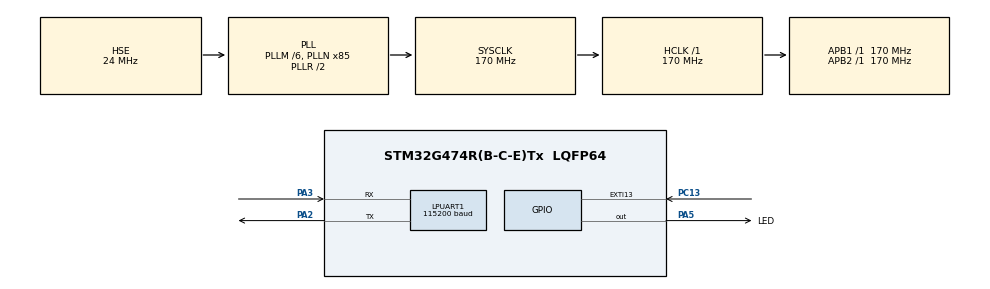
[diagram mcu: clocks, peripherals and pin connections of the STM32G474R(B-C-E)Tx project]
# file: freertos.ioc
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FREERTOS.INCLUDE_vTaskDelayUntil=1
FREERTOS.Tasks01=defaultTask,0,128,StartDefaultTask,Default,NULL,Dynamic,NULL,NULL
FREERTOS.configENABLE_FPU=1
FREERTOS.configMAX_PRIORITIES=32
FREERTOS.configTOTAL_HEAP_SIZE=32768
FREERTOS.configUSE_NEWLIB_REENTRANT=1
FREERTOS.configUSE_TIMERS=1
LPUART1.BaudRate=115200
Mcu.Family=STM32G4
Mcu.Name=STM32G474R(B-C-E)Tx
Mcu.Package=LQFP64
NVIC.EXTI15_10_IRQn=true\:5\:0\:false\:false\:true\:true\:true\:true\:true
NVIC.LPUART1_IRQn=true\:5\:0\:false\:false\:true\:true\:true\:true\:true
NVIC.PriorityGroup=NVIC_PRIORITYGROUP_4
NVIC.TIM7_DAC_IRQn=true\:15\:0\:false\:false\:true\:false\:false\:true\:true
NVIC.TimeBase=TIM7_DAC_IRQn
NVIC.TimeBaseIP=TIM7
PA13.Mode=Serial_Wire
PA13.Signal=SYS_JTMS-SWDIO
PA14.Mode=Serial_Wire
PA14.Signal=SYS_JTCK-SWCLK
PA2.Mode=Asynchronous
PA2.Signal=LPUART1_TX
PA3.Mode=Asynchronous
PA3.Signal=LPUART1_RX
PA5.GPIO_Label=LED
PA5.Signal=GPIO_Output
PC13.Signal=GPXTI13
PF0-OSC_IN.Mode=HSE-External-Oscillator
PF0-OSC_IN.Signal=RCC_OSC_IN
PF1-OSC_OUT.Mode=HSE-External-Oscillator
PF1-OSC_OUT.Signal=RCC_OSC_OUT
ProjectManager.HeapSize=0x200
ProjectManager.StackSize=0x400
ProjectManager.TargetToolchain=CMake
RCC.ADC12Freq_Value=170000000
RCC.ADC345Freq_Value=170000000
RCC.AHBFreq_Value=170000000
RCC.APB1Freq_Value=170000000
RCC.APB1TimFreq_Value=170000000
RCC.APB2Freq_Value=170000000
RCC.APB2TimFreq_Value=170000000
RCC.CortexFreq_Value=170000000
RCC.EXTERNAL_CLOCK_VALUE=12288000
RCC.HCLKFreq_Value=170000000
RCC.HSE_VALUE=24000000
RCC.HSI48_VALUE=48000000
RCC.HSI_VALUE=16000000
RCC.LSE_VALUE=32768
RCC.PLLM=RCC_PLLM_DIV6
RCC.PLLN=85
RCC.PLLSourceVirtual=RCC_PLLSOURCE_HSE
RCC.SYSCLKFreq_VALUE=170000000
RCC.SYSCLKSource=RCC_SYSCLKSOURCE_PLLCLK
RCC.USBFreq_Value=170000000
RCC.VCOOutputFreq_Value=340000000
VP_FREERTOS_VS_CMSIS_V1.Mode=CMSIS_V1
VP_SYS_VS_DBSignals.Mode=DisableDeadBatterySignals
VP_SYS_VS_tim7.Mode=TIM7
board=custom

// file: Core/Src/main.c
/* USER CODE BEGIN Header */
/**
 ******************************************************************************
 * @file           : main.c
 * @brief          : Main program body
 ******************************************************************************
 * @attention
 *
 * Copyright (c) 2025 STMicroelectronics.
 * All rights reserved.
 *
 * This software is licensed under terms that can be found in the LICENSE file
 * in the root directory of this software component.
 * If no LICENSE file comes with this software, it is provided AS-IS.
 *
 ******************************************************************************
 */
/* USER CODE END Header */
#include "main.h"
#include "cmsis_os.h"
#include "portmacro.h"
/* USER CODE BEGIN Includes */
#include "FreeRTOS_CLI.h"
#include <stdint.h>
#include <string.h>

/* USER CODE END Includes */

/* USER CODE BEGIN PD */

typedef struct led_params_t_ {
  GPIO_TypeDef *led_port;
  uint16_t led_pin;
  TickType_t led_toggle_time;
} led_params_t;
/* USER CODE END PD */

UART_HandleTypeDef hlpuart1;

osThreadId defaultTaskHandle;
/* USER CODE BEGIN PV */
SemaphoreHandle_t sem = NULL;
SemaphoreHandle_t mutex = NULL;
TimerHandle_t debounce;
QueueHandle_t queue_keyb;
QueueHandle_t queue_tx;
QueueHandle_t queue_rx;

volatile uint32_t counter = 0;

#define MAX_INPUT_LENGTH 50
#define MAX_OUTPUT_LENGTH 100

static const int8_t *const pcWelcomeMessage =
    "FreeRTOS command server.rnType Help to view a list of registered "
    "commands.rn\n";

void HAL_UART_TxCpltCallback(UART_HandleTypeDef *huart) {
  BaseType_t pxHigherPriorityTaskWoken = pdFALSE;
  xSemaphoreGiveFromISR(sem, &pxHigherPriorityTaskWoken);
  portYIELD_FROM_ISR(pxHigherPriorityTaskWoken);
}

void HAL_UART_RxCpltCallback(UART_HandleTypeDef *huart) {
  BaseType_t pxHigherPriorityTaskWoken = pdFALSE;
  xQueueSendToBackFromISR(queue_rx, huart->pRxBuffPtr,
                          &pxHigherPriorityTaskWoken);
  portYIELD_FROM_ISR(pxHigherPriorityTaskWoken);
}

void transmite_uart(uint8_t *string, uint32_t len) {
  if (xSemaphoreTake(mutex, 100) == pdTRUE) {
    if (HAL_UART_Transmit_IT(&hlpuart1, string, len) == HAL_OK) {
      xSemaphoreTake(sem, portMAX_DELAY);
    }
    xSemaphoreGive(mutex);
  }
}

void uart_transmit(char *str, uint32_t len) {
  if (xSemaphoreTake(mutex, 100) == pdTRUE) {
    if (HAL_UART_Transmit_IT(&hlpuart1, (uint8_t *)str, len) == HAL_OK) {
      xSemaphoreTake(sem, portMAX_DELAY);
    }
    xSemaphoreGive(mutex);
  }
}

void receive_uart(uint8_t *data) {
  xQueueReceive(queue_rx, data, portMAX_DELAY);
}

void echo(void *param) {
  uint8_t data;
  uint8_t data_rx;
  HAL_UART_Receive_IT(&hlpuart1, &data, 1);
  while (1) {
    receive_uart(&data_rx);
    if (data_rx == '\r') {
      transmite_uart(&data_rx, 1);
      data_rx = '\n';
      transmite_uart(&data_rx, 1);
    } else {
      transmite_uart(&data_rx, 1);
    }
  }
}

volatile uint32_t cnt1 = 0;
void envia_serial_1(void *param) {
  char *texto = "Olá mundo da tarefa 1!\n\r";
  uint32_t len = strlen(texto);
  while (1) {
    if (xSemaphoreTake(mutex, 100) == pdTRUE) {
      if (HAL_UART_Transmit_IT(&hlpuart1, (uint8_t *)texto, len) == HAL_OK) {
        xSemaphoreTake(sem, portMAX_DELAY);
        cnt1++;
      }
      xSemaphoreGive(mutex);
    }
    taskYIELD();
  }
}

volatile uint16_t ctn = 0;
void send_serial(void *param) {
  char *texto = (char *)param;
  uint32_t len = strlen(texto);
  while (1) {
    if (xSemaphoreTake(mutex, 100) == pdTRUE) {
      if (HAL_UART_Transmit_IT(&hlpuart1, (uint8_t *)texto, len) == HAL_OK) {
        xSemaphoreTake(sem, portMAX_DELAY);
        ctn++;
      }
      xSemaphoreGive(mutex);
    }
    taskYIELD();
  }
}

void print_serial(void *param) {
  char msg[64];

  while (1) {
    // Wait for message from queue
    if (xQueueReceive(queue_tx, &msg, portMAX_DELAY) == pdTRUE) {
      uart_transmit(msg, strlen(msg));
    }
  }
}

void vCommandConsoleTask(void *pvParameters) {
  int8_t cRxedChar, cInputIndex = 0;
  BaseType_t xMoreDataToFollow;
  /* The input and output buffers are declared static to keep them off the
   * stack. */
  static int8_t pcOutputString[MAX_OUTPUT_LENGTH],
      pcInputString[MAX_INPUT_LENGTH];

  /* This code assumes the peripheral being used as the console has already
     been opened and configured, and is passed into the task as the task
     parameter. Cast the task parameter to the correct type. */

  /* Send a welcome message to the user knows they are connected. */
  transmite_uart(pcWelcomeMessage, strlen(pcWelcomeMessage));

  for (;;) {
    /* This implementation reads a single character at a time. Wait in the
       Blocked state until a character is received. */
    HAL_UART_Receive_IT(&hlpuart1, &cRxedChar, 1);

    receive_uart(&cRxedChar);

    if (cRxedChar == '\r') {
      transmite_uart(&cRxedChar, 1);
    } else {
      transmite_uart(&cRxedChar, 1);
    }

    if (cRxedChar == '\r') {
      /* A newline character was received, so the input command string is
         complete and can be processed. Transmit a line separator, just to
         make the output easier to read. */
      transmite_uart("\r\n", strlen("\r\n"));

      /* The command interpreter is called repeatedly until it returns
         pdFALSE. See the "Implementing a command" documentation for an
         exaplanation of why this is. */
      do {
        /* Send the command string to the command interpreter. Any
           output generated by the command interpreter will be placed in the
           pcOutputString buffer. */
        xMoreDataToFollow = FreeRTOS_CLIProcessCommand(
            pcInputString,    /* The command string.*/
            pcOutputString,   /* The output buffer. */
            MAX_OUTPUT_LENGTH /* The size of the output buffer. */
        );

        /* Write the output generated by the command interpreter to the
           console. */
        transmite_uart(pcOutputString, strlen(pcOutputString));

      } while (xMoreDataToFollow != pdFALSE);

      /* All the strings generated by the input command have been sent.
         Processing of the command is complete. Clear the input string ready
         to receive the next command. */
      cInputIndex = 0;
      memset(pcInputString, 0x00, MAX_INPUT_LENGTH);
    } else {
      /* The if() clause performs the processing after a newline character
         is received. This else clause performs the processing if any other
         character is received. */

      if (cRxedChar == '\r') {
        /* Ignore carriage returns. */
      } else if (cRxedChar == '\b') {
        /* Backspace was pressed. Erase the last character in the input
           buffer - if there are any. */
        if (cInputIndex > 0) {
          cInputIndex--;
          pcInputString[cInputIndex] = ' ';
        }
      } else {
        /* A character was entered. It was not a new line, backspace
           or carriage return, so it is accepted as part of the input and
           placed into the input buffer. When a n is entered the complete
           string will be passed to the command interpreter. */
        if (cInputIndex < MAX_INPUT_LENGTH) {
          pcInputString[cInputIndex] = cRxedChar;
          cInputIndex++;
        }
      }
    }
  }
}

void HAL_GPIO_EXTI_Callback(uint16_t GPIO_Pin) {
  BaseType_t pxHigherPriorityTaskWoken = pdFALSE;
  HAL_NVIC_DisableIRQ(EXTI15_10_IRQn);
  xTimerStartFromISR(debounce, &pxHigherPriorityTaskWoken);

  HAL_GPIO_TogglePin(LED_GPIO_Port, LED_Pin);

  const char *string = "Hello from IRQ\r\n";

  xQueueSendFromISR(queue_tx, string, &pxHigherPriorityTaskWoken);

  portYIELD_FROM_ISR(pxHigherPriorityTaskWoken);
}

void debounce_callback(TimerHandle_t xTimer) {
  uint8_t buffer = 1;
  xQueueSendToBack(queue_keyb, &buffer, 0);
  HAL_NVIC_EnableIRQ(EXTI15_10_IRQn);
}
/* USER CODE END PV */

void SystemClock_Config(void);
static void MX_GPIO_Init(void);
static void MX_LPUART1_UART_Init(void);
void StartDefaultTask(void const *argument);

int main(void) {

  /* MCU Configuration--------------------------------------------------------*/

  /* Reset of all peripherals, Initializes the Flash interface and the Systick.
   */
  HAL_Init();

  /* Configure the system clock */
  SystemClock_Config();

  /* Initialize all configured peripherals */
  MX_GPIO_Init();
  MX_LPUART1_UART_Init();

  /* USER CODE BEGIN RTOS_MUTEX */
  mutex = xSemaphoreCreateMutex();
  sem = xSemaphoreCreateBinary();
  debounce =
      xTimerCreate("debounce do teclado", 50, pdFALSE, NULL, debounce_callback);
  /* USER CODE END RTOS_MUTEX */

  /* USER CODE BEGIN RTOS_QUEUES */
  queue_keyb = xQueueCreate(16, sizeof(char));
  queue_tx = xQueueCreate(8, sizeof(char[64]));
  queue_rx = xQueueCreate(16, sizeof(uint8_t));

  /* USER CODE END RTOS_QUEUES */

  /* Create the thread(s) */
  /* definition and creation of defaultTask */
  osThreadDef(defaultTask, StartDefaultTask, osPriorityNormal, 0, 128);
  defaultTaskHandle = osThreadCreate(osThread(defaultTask), NULL);

  /* USER CODE BEGIN RTOS_THREADS */
  // static led_params_t led1 = {
  //   LED_GPIO_Port,
  //    LED_Pin,
  //    500
  // };

  // char * string = "Hello from task1\n\r";
  // char * string2 = "Hello from task2\n\r";
  // xTaskCreate(blink_led, "Blink LED", 256, &led1, 4, NULL);
  // xTaskCreate(send_serial, "Serial1",256, string, 3, NULL);
  // xTaskCreate(send_serial, "Serial1",256, string2, 3, NULL);
  // xTaskCreate(envia_serial_1, "serial 1", 256, NULL, 6, NULL);
  xTaskCreate(print_serial, "Print Serial", 256, NULL, 3, NULL);
  // xTaskCreate(echo, "echo serial", 256, NULL, 5, NULL);
  xTaskCreate(vCommandConsoleTask, "Shell", 1024, NULL, 4, NULL);

  /* USER CODE END RTOS_THREADS */

  /* Start scheduler */
  osKernelStart();

  /* We should never get here as control is now taken by the scheduler */

  /* Infinite loop */
  while (1) {

  }
}

void SystemClock_Config(void) {
  RCC_OscInitTypeDef RCC_OscInitStruct = {0};
  RCC_ClkInitTypeDef RCC_ClkInitStruct = {0};

  /** Configure the main internal regulator output voltage
   */
  HAL_PWREx_ControlVoltageScaling(PWR_REGULATOR_VOLTAGE_SCALE1_BOOST);

  /** Initializes the RCC Oscillators according to the specified parameters
   * in the RCC_OscInitTypeDef structure.
   */
  RCC_OscInitStruct.OscillatorType = RCC_OSCILLATORTYPE_HSE;
  RCC_OscInitStruct.HSEState = RCC_HSE_ON;
  RCC_OscInitStruct.PLL.PLLState = RCC_PLL_ON;
  RCC_OscInitStruct.PLL.PLLSource = RCC_PLLSOURCE_HSE;
  RCC_OscInitStruct.PLL.PLLM = RCC_PLLM_DIV6;
  RCC_OscInitStruct.PLL.PLLN = 85;
  RCC_OscInitStruct.PLL.PLLP = RCC_PLLP_DIV2;
  RCC_OscInitStruct.PLL.PLLQ = RCC_PLLQ_DIV2;
  RCC_OscInitStruct.PLL.PLLR = RCC_PLLR_DIV2;
  if (HAL_RCC_OscConfig(&RCC_OscInitStruct) != HAL_OK) {
    Error_Handler();
  }

  /** Initializes the CPU, AHB and APB buses clocks
   */
  RCC_ClkInitStruct.ClockType = RCC_CLOCKTYPE_HCLK | RCC_CLOCKTYPE_SYSCLK |
                                RCC_CLOCKTYPE_PCLK1 | RCC_CLOCKTYPE_PCLK2;
  RCC_ClkInitStruct.SYSCLKSource = RCC_SYSCLKSOURCE_PLLCLK;
  RCC_ClkInitStruct.AHBCLKDivider = RCC_SYSCLK_DIV1;
  RCC_ClkInitStruct.APB1CLKDivider = RCC_HCLK_DIV1;
  RCC_ClkInitStruct.APB2CLKDivider = RCC_HCLK_DIV1;

  if (HAL_RCC_ClockConfig(&RCC_ClkInitStruct, FLASH_LATENCY_4) != HAL_OK) {
    Error_Handler();
  }
}

static void MX_LPUART1_UART_Init(void) {

  hlpuart1.Instance = LPUART1;
  hlpuart1.Init.BaudRate = 115200;
  hlpuart1.Init.WordLength = UART_WORDLENGTH_8B;
  hlpuart1.Init.StopBits = UART_STOPBITS_1;
  hlpuart1.Init.Parity = UART_PARITY_NONE;
  hlpuart1.Init.Mode = UART_MODE_TX_RX;
  hlpuart1.Init.HwFlowCtl = UART_HWCONTROL_NONE;
  hlpuart1.Init.OneBitSampling = UART_ONE_BIT_SAMPLE_DISABLE;
  hlpuart1.Init.ClockPrescaler = UART_PRESCALER_DIV1;
  hlpuart1.AdvancedInit.AdvFeatureInit = UART_ADVFEATURE_NO_INIT;
  if (HAL_UART_Init(&hlpuart1) != HAL_OK) {
    Error_Handler();
  }
  if (HAL_UARTEx_SetTxFifoThreshold(&hlpuart1, UART_TXFIFO_THRESHOLD_1_8) !=
      HAL_OK) {
    Error_Handler();
  }
  if (HAL_UARTEx_SetRxFifoThreshold(&hlpuart1, UART_RXFIFO_THRESHOLD_1_8) !=
      HAL_OK) {
    Error_Handler();
  }
  if (HAL_UARTEx_DisableFifoMode(&hlpuart1) != HAL_OK) {
    Error_Handler();
  }
}

static void MX_GPIO_Init(void) {
  GPIO_InitTypeDef GPIO_InitStruct = {0};

  /* GPIO Ports Clock Enable */
  __HAL_RCC_GPIOC_CLK_ENABLE();
  __HAL_RCC_GPIOF_CLK_ENABLE();
  __HAL_RCC_GPIOA_CLK_ENABLE();

  /*Configure GPIO pin Output Level */
  HAL_GPIO_WritePin(LED_GPIO_Port, LED_Pin, GPIO_PIN_RESET);

  /*Configure GPIO pin : PC13 */
  GPIO_InitStruct.Pin = GPIO_PIN_13;
  GPIO_InitStruct.Mode = GPIO_MODE_IT_RISING;
  GPIO_InitStruct.Pull = GPIO_NOPULL;
  HAL_GPIO_Init(GPIOC, &GPIO_InitStruct);

  /*Configure GPIO pin : LED_Pin */
  GPIO_InitStruct.Pin = LED_Pin;
  GPIO_InitStruct.Mode = GPIO_MODE_OUTPUT_PP;
  GPIO_InitStruct.Pull = GPIO_NOPULL;
  GPIO_InitStruct.Speed = GPIO_SPEED_FREQ_LOW;
  HAL_GPIO_Init(LED_GPIO_Port, &GPIO_InitStruct);

  /* EXTI interrupt init*/
  HAL_NVIC_SetPriority(EXTI15_10_IRQn, 5, 0);
  HAL_NVIC_EnableIRQ(EXTI15_10_IRQn);

}

void StartDefaultTask(void const *argument) {
  for (;;) {
    osDelay(1);
  }
}

void HAL_TIM_PeriodElapsedCallback(TIM_HandleTypeDef *htim) {
  if (htim->Instance == TIM7) {
    HAL_IncTick();
  }
}

void Error_Handler(void) {
  __disable_irq();
  while (1) {
  }
}
#ifdef USE_FULL_ASSERT
/**
 * @brief  Reports the name of the source file and the source line number
 *         where the assert_param error has occurred.
 * @param  file: pointer to the source file name
 * @param  line: assert_param error line source number
 * @retval None
 */
void assert_failed(uint8_t *file, uint32_t line) {
  /* USER CODE BEGIN 6 */
  /* User can add his own implementation to report the file name and line
     number, ex: printf("Wrong parameters value: file %s on line %d\r\n", file,
     line) */
  /* USER CODE END 6 */
}
#endif /* USE_FULL_ASSERT */
